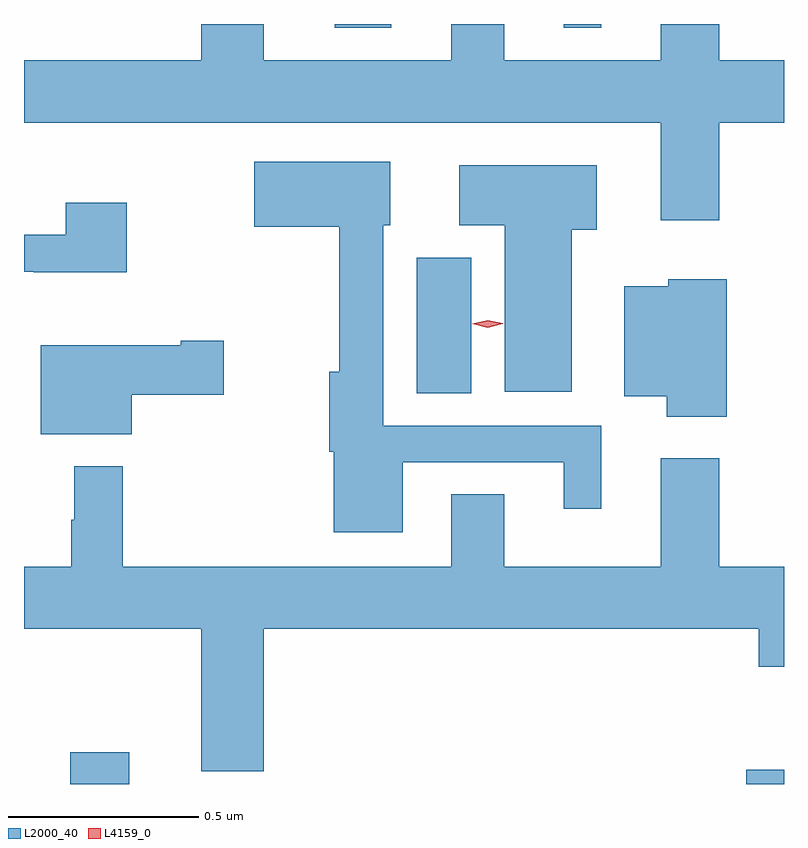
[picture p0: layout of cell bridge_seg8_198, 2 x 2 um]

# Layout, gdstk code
import gdstk
lib = gdstk.Library(unit=1e-6, precision=1e-09)
def R(c, l, rs):  # rectangles x0, y0, x1, y1
    for r in rs: c.add(gdstk.rectangle(r[:2], r[2:], *l))
def P(c, l, *ps):  # polygons
    for p in ps: c.add(gdstk.Polygon(p, *l))
L2000_40 = (2000, 40)
L4159_0 = (4159, 0)

bridge_seg8_198 = lib.new_cell('bridge_seg8_198')
R(bridge_seg8_198, L2000_40, [(248.579,1108.1,248.734,1108.183), (250.358,1108.1,250.457,1108.138), (249.491,1109.128,249.634,1109.485), (249.275,1110.09,249.424,1110.1), (249.878,1110.09,249.976,1110.1)])
P(bridge_seg8_198, L2000_40, [(250.286,1109.84),(250.457,1109.84),(250.457,1110.004),(250.286,1110.004),(250.286,1110.1),(250.133,1110.1),(250.133,1110.004),(249.721,1110.004),(249.721,1110.1),(249.581,1110.1),(249.581,1110.004),(249.088,1110.004),(249.088,1110.1),(248.924,1110.1),(248.924,1110.004),(248.457,1110.004),(248.457,1109.84),(250.133,1109.84),(250.133,1109.583),(250.286,1109.583)],
  [(249.454,1108.947),(249.878,1108.947),(249.878,1108.824),(249.976,1108.824),(249.976,1109.043),(249.402,1109.043),(249.402,1109.571),(249.421,1109.571),(249.421,1109.737),(249.063,1109.737),(249.063,1109.567),(249.286,1109.567),(249.286,1109.185),(249.26,1109.185),(249.26,1108.974),(249.272,1108.974),(249.272,1108.763),(249.454,1108.763)],
  [(249.898,1109.558),(249.964,1109.558),(249.964,1109.728),(249.603,1109.728),(249.603,1109.57),(249.722,1109.57),(249.722,1109.132),(249.898,1109.132)],
  [(248.727,1109.629),(248.567,1109.629),(248.567,1109.546),(248.457,1109.546),(248.457,1109.448),(248.483,1109.448),(248.483,1109.447),(248.727,1109.447)],
  [(250.306,1109.428),(250.152,1109.428),(250.152,1109.41),(250.037,1109.41),(250.037,1109.12),(250.148,1109.12),(250.148,1109.066),(250.306,1109.066)],
  [(248.74,1109.125),(248.983,1109.125),(248.983,1109.267),(248.87,1109.267),(248.87,1109.254),(248.501,1109.254),(248.501,1109.021),(248.74,1109.021)],
  [(249.088,1108.508),(250.391,1108.508),(250.391,1108.409),(250.457,1108.409),(250.457,1108.672),(250.286,1108.672),(250.286,1108.957),(250.133,1108.957),(250.133,1108.672),(249.721,1108.672),(249.721,1108.862),(249.581,1108.862),(249.581,1108.672),(248.717,1108.672),(248.717,1108.936),(248.589,1108.936),(248.589,1108.796),(248.581,1108.796),(248.581,1108.672),(248.457,1108.672),(248.457,1108.508),(248.924,1108.508),(248.924,1108.134),(249.088,1108.134)])
P(bridge_seg8_198, L4159_0, [(249.677,1109.301),(249.637,1109.311),(249.637,1109.311),(249.637,1109.311),(249.677,1109.321),(249.717,1109.312),(249.718,1109.311),(249.717,1109.311)])

lib.write_gds('bridge_seg8_198.gds')
